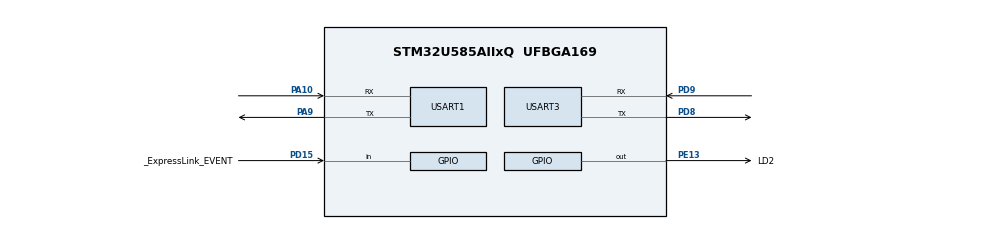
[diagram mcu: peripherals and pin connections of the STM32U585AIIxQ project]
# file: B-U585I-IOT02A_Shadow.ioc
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AWS.coreJSON.4.0.0.FreeRTOSJjcoreJSON=true
CORTEX_M33_NS.userName=CORTEX_M33
Mcu.Family=STM32U5
Mcu.Name=STM32U585AIIxQ
Mcu.Package=UFBGA169
NVIC.PriorityGroup=NVIC_PRIORITYGROUP_4
PA10.Mode=Asynchronous
PA10.Signal=USART1_RX
PA9.Mode=Asynchronous
PA9.Signal=USART1_TX
PD15.GPIO_Label=_ExpressLink_EVENT
PD15.Signal=GPIO_Input
PD8.Mode=Asynchronous
PD8.Signal=USART3_TX
PD9.Mode=Asynchronous
PD9.Signal=USART3_RX
PE13.GPIO_Label=LD2
PE13.PinState=GPIO_PIN_SET
PE13.Signal=GPIO_Output
PWR.PowerMode=PWR_SMPS_SUPPLY
ProjectManager.HeapSize=0x200
ProjectManager.StackSize=0x800
ProjectManager.TargetToolchain=STM32CubeIDE
RCC.ADCFreq_Value=16000000
RCC.AHBFreq_Value=160000000
RCC.APB1Freq_Value=160000000
RCC.APB1TimFreq_Value=160000000
RCC.APB2Freq_Value=160000000
RCC.APB2TimFreq_Value=160000000
RCC.APB3Freq_Value=160000000
RCC.CortexFreq_Value=160000000
RCC.DACCLockSelectionVirtual=RCC_DAC1CLKSOURCE_LSI
RCC.EPOD_VALUE=48000000
RCC.HCLKFreq_Value=160000000
RCC.HSE_VALUE=16000000
RCC.HSI48_VALUE=48000000
RCC.HSI_VALUE=16000000
RCC.LSE_VALUE=32768
RCC.LSIDIV_VALUE=32000
RCC.MSIClockRange=RCC_MSIRANGE_0
RCC.MSI_VALUE=48000000
RCC.PLL1R=1
RCC.PLL2FRACN=0
RCC.PLL3FRACN=0
RCC.PLLFRACN=0
RCC.PLLM=3
RCC.PLLN=10
RCC.SYSCLKFreq_VALUE=160000000
RCC.SYSCLKSource=RCC_SYSCLKSOURCE_PLLCLK
RCC.USBFreq_Value=48000000
RCC.VCOOutputFreq_Value=160000000
STMicroelectronics.I-CUBE-ExpressLink.1.0.0.EXPRESSLINK_APN="nxt20.net"
STMicroelectronics.I-CUBE-ExpressLink.1.0.0.EXPRESSLINK_AWS_IOT_ENDPOINT="a1qwhobjtvew8t-ats.iot.us-west-1.amazonaws.com"
STMicroelectronics.I-CUBE-ExpressLink.1.0.0.EXPRESSLINK_DEBUG=1
STMicroelectronics.I-CUBE-ExpressLink.1.0.0.EXPRESSLINK_RX_BUFFER_SIZE=512
STMicroelectronics.I-CUBE-ExpressLink.1.0.0.EXPRESSLINK_TX_BUFFER_SIZE=512
STMicroelectronics.I-CUBE-ExpressLink.1.0.0.EXPRESSLINK_USART_HANDLER=huart3
STMicroelectronics.I-CUBE-ExpressLink.1.0.0.EXPRESSLINK_WIFI_PASSWORD="stm32u585"
STMicroelectronics.I-CUBE-ExpressLink.1.0.0.EXPRESSLINK_WIFI_SSID="st_iot_demo"
STMicroelectronics.I-CUBE-ExpressLink.1.0.0.ExpressLinkCcDriverJjExpressLink=true
STMicroelectronics.I-CUBE-STDIO.1.5.0.STDIOCcCompilerJjIOoOJjSTDOUT=USART
USART1.VirtualMode-Asynchronous=VM_ASYNC
USART3.VirtualMode-Asynchronous=VM_ASYNC
VP_AWS.coreJSON_VS_FreeRTOSJjcoreJSON_3.0.0_4.0.0.Mode=FreeRTOSJjcoreJSON
VP_ICACHE_VS_ICACHE.Mode=DirectMappedCache
VP_LPBAMQUEUE_VS_QUEUE.Mode=QUEUEMODE
VP_LPBAM_VS_SIG1.Mode=SmartRun
VP_LPBAM_VS_SIG4.Mode=LPDMA1
VP_PWR_VS_DBSignals.Mode=DisableDeadBatterySignals
VP_PWR_VS_LPOM.Mode=PowerOptimisation
VP_PWR_VS_SECSignals.Mode=Security/Privilege
VP_STMicroelectronics.I-CUBE-ExpressLink_VS_DriverJjExpressLink_1.0.0_1.0.0.Mode=DriverJjExpressLink
VP_STMicroelectronics.I-CUBE-STDIO_VS_CompilerJjSTDIO_1.0.0_1.5.0.Mode=CompilerJjSTDIO
board=custom

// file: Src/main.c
/* USER CODE BEGIN Header */
/**
******************************************************************************
* @file           : main.c
* @brief          : Main program body
******************************************************************************
* @attention
*
* Copyright (c) 2022 STMicroelectronics.
* All rights reserved.
*
* This software is licensed under terms that can be found in the LICENSE file
* in the root directory of this software component.
* If no LICENSE file comes with this software, it is provided AS-IS.
*
******************************************************************************
*/
/* USER CODE END Header */
#include "main.h"

/* USER CODE BEGIN Includes */
#include <stdio.h>
#include <string.h>
#include <stdlib.h>
#include "ExpressLink.h"
#include "core_json.h"

/* USER CODE END Includes */

/* USER CODE BEGIN PTD */

typedef struct MQTTAgentCommandContext
{
  uint32_t ulCurrentPowerOnState; /* The device current power on state. */
  uint32_t ulReportedPowerOnState;/* The last reported state. It is initialized to an invalid value so that an update is initially sent. */
} ShadowDeviceCtx_t;

/* USER CODE END PTD */

/* USER CODE BEGIN PD */

#define MQTT_PUBLISH_MAX_LEN                 ( EXPRESSLINK_TX_BUFFER_SIZE )
#define MQTT_PUBLICH_TOPIC_STR_LEN           ( EXPRESSLINK_TX_BUFFER_SIZE )

#define shadowexampleSHADOW_REPORTED_JSON \
    "{"                                   \
    "\"state\":{"                         \
    "\"reported\":{"                      \
    "\"powerOn\": \"%1u\""                \
    "}"                                   \
    "}"                                  \
    "}"

#define shadowexampleSHADOW_REPORTED_JSON_LENGTH       ( sizeof( shadowexampleSHADOW_REPORTED_JSON ) - 2 )

/* USER CODE END PD */

UART_HandleTypeDef huart1;
UART_HandleTypeDef huart3;

/* USER CODE BEGIN PV */
static char * response;

char ReceiveTopic        [MQTT_PUBLICH_TOPIC_STR_LEN] = { 0 };
char Message             [MQTT_PUBLISH_MAX_LEN      ] = { 0 };

MQTTPublishInfo_t pxPublishInfo = { 0 };
ShadowDeviceCtx_t xShadowCtx    = { 0 };

uint8_t shadowReceived   = 0;
uint8_t console_data     = 0 ;
uint8_t config_mode      = 0;

/* USER CODE END PV */

void SystemClock_Config(void);
static void SystemPower_Config(void);
static void MX_GPIO_Init(void);
static void MX_USART1_UART_Init(void);
static void MX_USART3_UART_Init(void);
static void MX_ICACHE_Init(void);
/* USER CODE BEGIN PFP */

static void appInit(void);

static void Handle_DeltaCallback(ShadowDeviceCtx_t * pxCtx, MQTTPublishInfo_t * pxPublishInfo );

static void Publish_ShadowUpdate     ( void );

/* USER CODE END PFP */

/* USER CODE BEGIN 0 */
void ExpressLink_EventCallback(ExpressLink_event_t event)
{
    switch (event.id)
    {
    case EXPRESSLINK_EVENT_NONE:
      break;

    case EXPRESSLINK_EVENT_MESSAGE:
      ExpressLink_GetMessage(&pxPublishInfo);

      shadowReceived = 1;
      break;

    case EXPRESSLINK_EVENT_STARTUP:
#if EXPRESSLINK_DEBUG
      printf("[INFO] Module started\r\n");
#endif
      ExpressLink_SetState(EXPRESSLINK_STATE_READY);
      break;

    case EXPRESSLINK_EVENT_CONLOST:
#if EXPRESSLINK_DEBUG
      printf("[ERROR] Connection lost\r\n");
#endif
      ExpressLink_SetState(EXPRESSLINK_STATE_ERROR);
      break;

    case EXPRESSLINK_EVENT_OVERRUN:
#if EXPRESSLINK_DEBUG
      printf("[ERROR] Overrun error\r\n");
#endif
      ExpressLink_SetState(EXPRESSLINK_STATE_ERROR);
      break;

    case EXPRESSLINK_EVENT_OTA:
#if EXPRESSLINK_DEBUG
      printf("[INFO] OTA received\r\n");
#endif
      break;

  case EXPRESSLINK_EVENT_CONNECT:
#if EXPRESSLINK_DEBUG
    printf("[INFO] Connect event with Connection Hint %d\r\n", (int)event.param);
#endif
    break;

  case EXPRESSLINK_EVENT_CONFMODE:
#if EXPRESSLINK_DEBUG
    printf("[INFO] Conf mode\r\n");
#endif
    break;

  case EXPRESSLINK_EVENT_SUBACK:
#if EXPRESSLINK_DEBUG
    printf("[INFO] A subscription was accepted. Topic Index %d\r\n", (int)event.param);
#endif
    break;

  case EXPRESSLINK_EVENT_SUBNACK:
#if EXPRESSLINK_DEBUG
    printf("[INFO] A subscription was rejected. Topic Index %d\r\n", (int)event.param);
#endif
    break;

  case EXPRESSLINK_EVENT_SHADOW_INIT:
#if EXPRESSLINK_DEBUG
    printf("[INFO] Shadow %d interface was initialized successfully.\r\n", (int)event.param);
#endif
    response = ExpressLink_ShadowDoc(event.param);
    break;

  case EXPRESSLINK_EVENT_SHADOW_INIT_FAILED:
#if EXPRESSLINK_DEBUG
    printf("[INFO] The SHADOW %d interface initialization failed.\r\n", (int)event.param);
#endif
    break;

  case EXPRESSLINK_EVENT_SHADOW_INIT_DOC:
#if EXPRESSLINK_DEBUG
    printf("[INFO] A Shadow %d document was received.\r\n", (int)event.param);
#endif
    response = ExpressLink_ShadowGetDoc(event.param);

    snprintf(pxPublishInfo.pPayload, MQTT_PUBLISH_MAX_LEN - 4, "%s", (char *)&response[4]);

    pxPublishInfo.payloadLength = strlen(response) - 4;

    shadowReceived = 1;
    break;

  case EXPRESSLINK_EVENT_SHADOW_UPDATE:
#if EXPRESSLINK_DEBUG
    printf("[INFO] A Shadow %d update result was received.\r\n", (int)event.param);
#endif

    ExpressLink_ShadowGetDoc(event.param);
    ExpressLink_GetMessage(&pxPublishInfo);
    break;

  case EXPRESSLINK_EVENT_SHADOW_DELTA:
#if EXPRESSLINK_DEBUG
    printf("[INFO] A Shadow %d delta update was received.\r\n", (int)event.param);
#endif

    ExpressLink_ShadowDoc(event.param);
    ExpressLink_GetMessage(&pxPublishInfo);
    break;

  case EXPRESSLINK_EVENT_SHADOW_DELETE:
#if EXPRESSLINK_DEBUG
    printf("[INFO] A Shadow %d delete result was received.\r\n", (int)event.param);
#endif
    break;

  case EXPRESSLINK_EVENT_SHADOW_SUBACK:
#if EXPRESSLINK_DEBUG
    printf("[INFO] A Shadow %d delta subscription was accepted.\r\n", (int)event.param);
#endif
    break;

  case EXPRESSLINK_EVENT_SHADOW_SUBNACK:
#if EXPRESSLINK_DEBUG
    printf("[INFO] A Shadow %d delta subscription was rejected.\r\n", (int)event.param);
#endif
    break;

  default:
#if EXPRESSLINK_DEBUG
    printf("[INFO] Other event received: %d\r\n", (int)event.id);
#endif
    break;
    }
}

/* USER CODE END 0 */

int main(void)
{

  /* MCU Configuration--------------------------------------------------------*/

  /* Reset of all peripherals, Initializes the Flash interface and the Systick. */
  HAL_Init();

  /* Enable PWR clock interface */

  LL_AHB3_GRP1_EnableClock(LL_AHB3_GRP1_PERIPH_PWR);

  /* Configure the system clock */
  SystemClock_Config();

  /* Configure the System Power */
  SystemPower_Config();

  /* Initialize all configured peripherals */
  MX_GPIO_Init();
  MX_USART1_UART_Init();
  MX_USART3_UART_Init();
  MX_ICACHE_Init();
  /* USER CODE BEGIN 2 */
  appInit();

  /* USER CODE END 2 */

  /* Infinite loop */
  /* USER CODE BEGIN WHILE */
  while (1)
  {
    ExpressLink_EventCallback(ExpressLink_GetEvent());

    if (ExpressLink_GetState() != EXPRESSLINK_STATE_CONNECTED)
    {
      NVIC_SystemReset();
    }

    /* Handle received delta shadow message */
    Handle_DeltaCallback(&xShadowCtx, &pxPublishInfo);

    /* Check if we need to send a shadow update */
    Publish_ShadowUpdate();

    /* USER CODE END WHILE */

  }
}

void SystemClock_Config(void)
{
  LL_FLASH_SetLatency(LL_FLASH_LATENCY_4);
  while(LL_FLASH_GetLatency()!= LL_FLASH_LATENCY_4)
  {
  }

  LL_PWR_SetRegulVoltageScaling(LL_PWR_REGU_VOLTAGE_SCALE1);
  while (LL_PWR_IsActiveFlag_VOS() == 0)
  {
  }
  LL_RCC_MSIS_Enable();

   /* Wait till MSIS is ready */
  while(LL_RCC_MSIS_IsReady() != 1)
  {
  }

  LL_RCC_MSI_EnableRangeSelection();
  LL_RCC_MSIS_SetRange(LL_RCC_MSISRANGE_0);
  LL_RCC_MSI_SetCalibTrimming(16, LL_RCC_MSI_OSCILLATOR_0);
  LL_RCC_PLL1_ConfigDomain_SYS(LL_RCC_PLL1SOURCE_MSIS, 3, 10, 1);
  LL_RCC_PLL1_EnableDomain_SYS();
  LL_RCC_SetPll1EPodPrescaler(LL_RCC_PLL1MBOOST_DIV_4);
  LL_RCC_PLL1_SetVCOInputRange(LL_RCC_PLLINPUTRANGE_8_16);
  LL_RCC_PLL1_Enable();

   /* Wait till PLL is ready */
  while(LL_RCC_PLL1_IsReady() != 1)
  {
  }

   /* Intermediate AHB prescaler 2 when target frequency clock is higher than 80 MHz */
  LL_RCC_SetAHBPrescaler(LL_RCC_SYSCLK_DIV_2);

  LL_RCC_SetSysClkSource(LL_RCC_SYS_CLKSOURCE_PLL1);

   /* Wait till System clock is ready */
  while(LL_RCC_GetSysClkSource() != LL_RCC_SYS_CLKSOURCE_STATUS_PLL1)
  {
  }

  /* Insure 1us transition state at intermediate medium speed clock*/
  for (__IO uint32_t i = (160 >> 1); i !=0; i--);

  LL_RCC_SetAHBPrescaler(LL_RCC_SYSCLK_DIV_1);
  LL_RCC_SetAPB1Prescaler(LL_RCC_APB1_DIV_1);
  LL_RCC_SetAPB2Prescaler(LL_RCC_APB2_DIV_1);
  LL_RCC_SetAPB3Prescaler(LL_RCC_APB3_DIV_1);
  LL_SetSystemCoreClock(160000000);

   /* Update the time base */
  if (HAL_InitTick (TICK_INT_PRIORITY) != HAL_OK)
  {
    Error_Handler();
  }
}

/**
  * @brief Power Configuration
  * @retval None
  */
static void SystemPower_Config(void)
{

  /*
   * Disable the internal Pull-Up in Dead Battery pins of UCPD peripheral
   */
  LL_PWR_DisableUCPDDeadBattery();

  /*
   * Switch to SMPS regulator instead of LDO
   */
  LL_PWR_SetRegulatorSupply(LL_PWR_SMPS_SUPPLY);

  while(LL_PWR_IsActiveFlag_REGULATOR()!=1)
  {
  }
}

static void MX_ICACHE_Init(void)
{

  /** Enable instruction cache in 1-way (direct mapped cache)
  */
  LL_ICACHE_SetMode(LL_ICACHE_1WAY);
  LL_ICACHE_Enable();

}

static void MX_USART1_UART_Init(void)
{

  huart1.Instance = USART1;
  huart1.Init.BaudRate = 115200;
  huart1.Init.WordLength = UART_WORDLENGTH_8B;
  huart1.Init.StopBits = UART_STOPBITS_1;
  huart1.Init.Parity = UART_PARITY_NONE;
  huart1.Init.Mode = UART_MODE_TX_RX;
  huart1.Init.HwFlowCtl = UART_HWCONTROL_NONE;
  huart1.Init.OverSampling = UART_OVERSAMPLING_16;
  huart1.Init.OneBitSampling = UART_ONE_BIT_SAMPLE_DISABLE;
  huart1.Init.ClockPrescaler = UART_PRESCALER_DIV1;
  huart1.AdvancedInit.AdvFeatureInit = UART_ADVFEATURE_NO_INIT;
  if (HAL_UART_Init(&huart1) != HAL_OK)
  {
    Error_Handler();
  }
  if (HAL_UARTEx_SetTxFifoThreshold(&huart1, UART_TXFIFO_THRESHOLD_1_8) != HAL_OK)
  {
    Error_Handler();
  }
  if (HAL_UARTEx_SetRxFifoThreshold(&huart1, UART_RXFIFO_THRESHOLD_1_8) != HAL_OK)
  {
    Error_Handler();
  }
  if (HAL_UARTEx_DisableFifoMode(&huart1) != HAL_OK)
  {
    Error_Handler();
  }

}

static void MX_USART3_UART_Init(void)
{

  huart3.Instance = USART3;
  huart3.Init.BaudRate = 115200;
  huart3.Init.WordLength = UART_WORDLENGTH_8B;
  huart3.Init.StopBits = UART_STOPBITS_1;
  huart3.Init.Parity = UART_PARITY_NONE;
  huart3.Init.Mode = UART_MODE_TX_RX;
  huart3.Init.HwFlowCtl = UART_HWCONTROL_NONE;
  huart3.Init.OverSampling = UART_OVERSAMPLING_16;
  huart3.Init.OneBitSampling = UART_ONE_BIT_SAMPLE_DISABLE;
  huart3.Init.ClockPrescaler = UART_PRESCALER_DIV1;
  huart3.AdvancedInit.AdvFeatureInit = UART_ADVFEATURE_NO_INIT;
  if (HAL_UART_Init(&huart3) != HAL_OK)
  {
    Error_Handler();
  }
  if (HAL_UARTEx_SetTxFifoThreshold(&huart3, UART_TXFIFO_THRESHOLD_1_8) != HAL_OK)
  {
    Error_Handler();
  }
  if (HAL_UARTEx_SetRxFifoThreshold(&huart3, UART_RXFIFO_THRESHOLD_1_8) != HAL_OK)
  {
    Error_Handler();
  }
  if (HAL_UARTEx_DisableFifoMode(&huart3) != HAL_OK)
  {
    Error_Handler();
  }

}

static void MX_GPIO_Init(void)
{
  LL_GPIO_InitTypeDef GPIO_InitStruct = {0};

  /* GPIO Ports Clock Enable */
  LL_AHB2_GRP1_EnableClock(LL_AHB2_GRP1_PERIPH_GPIOA);
  LL_AHB2_GRP1_EnableClock(LL_AHB2_GRP1_PERIPH_GPIOD);
  LL_AHB2_GRP1_EnableClock(LL_AHB2_GRP1_PERIPH_GPIOE);

  /**/
  LL_GPIO_SetOutputPin(LD2_GPIO_Port, LD2_Pin);

  /**/
  GPIO_InitStruct.Pin = ExpressLink_EVENT_Pin;
  GPIO_InitStruct.Mode = LL_GPIO_MODE_INPUT;
  GPIO_InitStruct.Pull = LL_GPIO_PULL_NO;
  LL_GPIO_Init(ExpressLink_EVENT_GPIO_Port, &GPIO_InitStruct);

  /**/
  GPIO_InitStruct.Pin = LD2_Pin;
  GPIO_InitStruct.Mode = LL_GPIO_MODE_OUTPUT;
  GPIO_InitStruct.Speed = LL_GPIO_SPEED_FREQ_LOW;
  GPIO_InitStruct.OutputType = LL_GPIO_OUTPUT_PUSHPULL;
  GPIO_InitStruct.Pull = LL_GPIO_PULL_NO;
  LL_GPIO_Init(LD2_GPIO_Port, &GPIO_InitStruct);

}

/* USER CODE BEGIN 4 */

/**
  * @brief ExpressLink module Configuration
  * @retval None
  */
void appInit(void)
{
  uint32_t clientToken = 1234;

  xShadowCtx.ulCurrentPowerOnState  = HAL_GPIO_ReadPin(LD2_GPIO_Port, LD2_Pin);
  xShadowCtx.ulReportedPowerOnState = !xShadowCtx.ulCurrentPowerOnState;

  pxPublishInfo.pTopic   = ReceiveTopic;
  pxPublishInfo.pPayload = Message;

#if EXPRESSLINK_DEBUG
  printf("[INFO] Starting\r\n");
#endif
  HAL_Delay(ExpressLink_BOOT_DELAY);

  /* Reset the ExpressLink module */
  ExpressLink_Reset();

  HAL_Delay(ExpressLink_BOOT_DELAY);

  /* Wait until the module is ready */
  do
  {
    ExpressLink_EventCallback(ExpressLink_GetEvent());
  }while(ExpressLink_GetState() != EXPRESSLINK_STATE_READY);

  /* Set AWS IoT Core endpoint */
  ExpressLink_SetEndpoint  (EXPRESSLINK_AWS_IOT_ENDPOINT);

  /* Set Wi-Fi SSID and password */
  ExpressLink_SetSSID      (EXPRESSLINK_WIFI_SSID);
  ExpressLink_SetPassphrase(EXPRESSLINK_WIFI_PASSWORD);

  /* Connect to AWS */
  response = ExpressLink_Connect();

  if(strcmp(response,"OK 1 CONNECTED\r\n") != 0)
  {
#if EXPRESSLINK_DEBUG
    printf("[ERROR] %s", response);
#endif

    ExpressLink_SetState(EXPRESSLINK_STATE_ERROR);

    NVIC_SystemReset();
  }

#if EXPRESSLINK_DEBUG
  printf("[INFO] Connected to AWS\r\n");
#endif

  ExpressLink_SetState(EXPRESSLINK_STATE_CONNECTED);

  ExpressLink_ShadowEnable();
  ExpressLink_ShadowSetToken(clientToken);
  ExpressLink_ShadowInit(0);
  ExpressLink_ShadowSubscribe(0);
}

static void Publish_ShadowUpdate     ( void )
{
  if(xShadowCtx.ulCurrentPowerOnState != xShadowCtx.ulReportedPowerOnState)
  {
    char pcUpdateDocument[ shadowexampleSHADOW_REPORTED_JSON_LENGTH + 1 ] = { 0 };

    /* Send shadow update */
#if EXPRESSLINK_DEBUG
    printf("[INFO] Updating Shadow\r\n");
#endif
    xShadowCtx.ulReportedPowerOnState = xShadowCtx.ulCurrentPowerOnState;

    /* Build the JSON message */
    snprintf( pcUpdateDocument,
             shadowexampleSHADOW_REPORTED_JSON_LENGTH + 1,
             shadowexampleSHADOW_REPORTED_JSON,
             ( unsigned int ) xShadowCtx.ulCurrentPowerOnState );

    ExpressLink_ShadowUpdate(0, pcUpdateDocument);
  }
}

/**
  * @brief Handle AWS Shadow Delata message
  * @retval None
  */
void Handle_DeltaCallback(ShadowDeviceCtx_t * pxCtx, MQTTPublishInfo_t * pxPublishInfo )
{
  static uint32_t ulCurrentVersion = 0; /* Remember the latest version number we've received */
  uint32_t ulVersion = 0UL;
  uint32_t ulNewState = 0UL;
  char * pcOutValue = NULL;
  uint32_t ulOutValueLength = 0UL;
  JSONStatus_t result = JSONSuccess;

  if(shadowReceived == 1)
  {
    /* Handle received delta shadow message */
    shadowReceived = 0;

#if EXPRESSLINK_DEBUG
    printf("[INFO] Shadow received\r\n");
    printf("[INFO] Shadow Message : %s", pxPublishInfo->pPayload);
#endif
    /* The payload will look similar to this:
    * {
    *      "state": {
    *          "powerOn": 1
    *      },
    *      "metadata": {
    *          "powerOn": {
    *              "timestamp": 1595437367
    *          }
    *      },
    *      "timestamp": 1595437367,
    *      "clientToken": "388062",
    *      "version": 12
    *  }
    */

    /* Make sure the payload is a valid json document. */
    result = JSON_Validate( pxPublishInfo->pPayload,  pxPublishInfo->payloadLength);

    if( result != JSONSuccess )
    {
#if EXPRESSLINK_DEBUG
      printf( "[ERROR] Invalid JSON document received!" );
#endif
    }
    else
    {
      /* Obtain the version value. */
      result = JSON_Search( ( char * ) pxPublishInfo->pPayload,
                           pxPublishInfo->payloadLength,
                           "version",
                           sizeof( "version" ) - 1,
                           &pcOutValue,
                           ( size_t * ) &ulOutValueLength );

      if( result != JSONSuccess )
      {
#if EXPRESSLINK_DEBUG
        printf( "[ERROR] Version field not found in JSON document!\r\n" );
#endif
      }
      else
      {
        /* Convert the extracted value to an unsigned integer value. */
        ulVersion = ( uint32_t ) strtoul( pcOutValue, NULL, 10 );

        /* Make sure the version is newer than the last one we received. */
        if( ulVersion <= ulCurrentVersion )
        {
          /* In this demo, we discard the incoming message
          * if the version number is not newer than the latest
          * that we've received before. Your application may use a
          * different approach.
          */
#if EXPRESSLINK_DEBUG
          printf( "[WARN] Received unexpected delta update with version %u. Current version is %u\r\n", ( unsigned int ) ulVersion, ( unsigned int ) ulCurrentVersion );
#endif
        }
        else
        {
#if EXPRESSLINK_DEBUG
          printf( "[INFO] Received delta update with version %.*s.\r\n", (int)ulOutValueLength, pcOutValue );
#endif

          /* Set received version as the current version. */
          ulCurrentVersion = ulVersion;

          /* Get powerOn state from json documents. */
          result = JSON_Search( ( char * ) pxPublishInfo->pPayload,
                               pxPublishInfo->payloadLength,
                               "state.desired.powerOn",
                               sizeof( "state.desired.powerOn" ) - 1,
                               &pcOutValue,
                               ( size_t * ) &ulOutValueLength );

          if( result != JSONSuccess )
          {
#if EXPRESSLINK_DEBUG
            printf( "[WARN] powerOn field not found in JSON document!\r\n" );
#endif
          }
          else
          {
            /* Convert the powerOn state value to an unsigned integer value. */
            ulNewState = ( uint32_t ) strtoul( pcOutValue, NULL, 10 );

#if EXPRESSLINK_DEBUG
            printf( "[INFO] Setting powerOn state to %u.\r\n", ( unsigned int ) ulNewState );
#endif
            /* Set the new powerOn state. */
            pxCtx->ulCurrentPowerOnState = ulNewState;

            if( ulNewState == 1 )
            {
              HAL_GPIO_WritePin( LD2_GPIO_Port, LD2_Pin, GPIO_PIN_SET ); /* Turn the LED ON */
            }
            else
            {
              HAL_GPIO_WritePin( LD2_GPIO_Port, LD2_Pin, GPIO_PIN_RESET ); /* Turn the LED off */
            }
          }
        }
      }
    }
  }
}

/* USER CODE END 4 */

void Error_Handler(void)
{
  __disable_irq();
  while (1)
  {
  }
}
